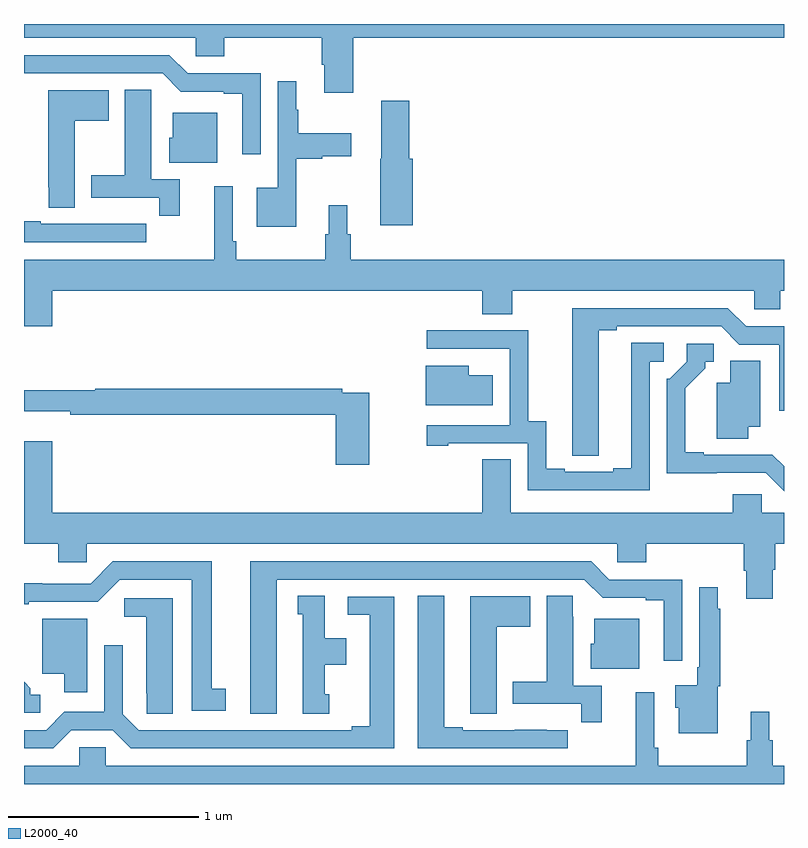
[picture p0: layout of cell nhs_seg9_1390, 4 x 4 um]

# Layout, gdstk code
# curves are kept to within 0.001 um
import gdstk
lib = gdstk.Library(unit=1e-6, precision=1e-09)
def P(c, l, *ps):  # polygons
    for p in ps: c.add(gdstk.Polygon(p, *l))
L2000_40 = (2000, 40)

nhs_seg9_1390 = lib.new_cell('nhs_seg9_1390')
P(nhs_seg9_1390, L2000_40, [(190.733,1188.428),(193,1188.428),(193,1188.5),(189,1188.5),(189,1188.428),(189.903,1188.428),(189.903,1188.33),(190.055,1188.33),(190.055,1188.428),(190.568,1188.428),(190.568,1188.286),(190.58,1188.286),(190.58,1188.138),(190.733,1188.138)],
  [(190.245,1188.24),(189.861,1188.24),(189.765,1188.336),(189,1188.336),(189,1188.24),(189.729,1188.24),(189.825,1188.144),(190.052,1188.144),(190.052,1188.132),(190.148,1188.132),(190.148,1187.814),(190.245,1187.814)],
  [(190.432,1187.792),(190.569,1187.792),(190.569,1187.804),(190.723,1187.804),(190.723,1187.926),(190.444,1187.926),(190.444,1188.05),(190.432,1188.05),(190.432,1188.199),(190.335,1188.199),(190.335,1187.638),(190.226,1187.638),(190.226,1187.432),(190.432,1187.432)],
  [(189.821,1187.682),(189.67,1187.682),(189.67,1188.044),(189.669,1188.044),(189.669,1188.155),(189.53,1188.155),(189.53,1187.703),(189.353,1187.703),(189.353,1187.586),(189.712,1187.586),(189.712,1187.49),(189.821,1187.49)],
  [(189.268,1187.992),(189.445,1187.992),(189.445,1188.151),(189.128,1188.151),(189.128,1187.641),(189.129,1187.641),(189.129,1187.533),(189.268,1187.533)],
  [(191.045,1187.79),(191.027,1187.79),(191.027,1188.097),(190.88,1188.097),(190.88,1187.79),(190.874,1187.79),(190.874,1187.442),(191.045,1187.442)],
  [(190.018,1188.034),(189.782,1188.034),(189.782,1187.901),(189.764,1187.901),(189.764,1187.771),(190.018,1187.771)],
  [(189.148,1187.096),(191.411,1187.096),(191.411,1186.972),(191.571,1186.972),(191.571,1187.096),(192.843,1187.096),(192.843,1186.998),(192.981,1186.998),(192.981,1187.096),(193,1187.096),(193,1187.26),(190.721,1187.26),(190.721,1187.394),(190.702,1187.394),(190.702,1187.545),(190.604,1187.545),(190.604,1187.394),(190.585,1187.394),(190.585,1187.26),(190.118,1187.26),(190.118,1187.356),(190.098,1187.356),(190.098,1187.647),(190.001,1187.647),(190.001,1187.26),(189,1187.26),(189,1186.908),(189.148,1186.908)],
  [(189.643,1187.448),(189.53,1187.448),(189.53,1187.449),(189.364,1187.449),(189.364,1187.448),(189.088,1187.448),(189.088,1187.463),(189,1187.463),(189,1187.352),(189.643,1187.352)],
  [(192.025,1186.888),(192.121,1186.888),(192.121,1186.908),(192.669,1186.908),(192.765,1186.812),(192.975,1186.812),(192.975,1186.464),(193,1186.464),(193,1186.908),(192.801,1186.908),(192.705,1187.004),(191.885,1187.004),(191.886,1186.228),(192.025,1186.228)],
  [(192.294,1186.722),(192.367,1186.722),(192.367,1186.823),(192.197,1186.823),(192.197,1186.163),(192.101,1186.163),(192.101,1186.143),(191.845,1186.143),(191.845,1186.158),(191.749,1186.158),(191.749,1186.409),(191.655,1186.409),(191.655,1186.887),(191.121,1186.887),(191.121,1186.791),(191.555,1186.791),(191.555,1186.79),(191.556,1186.79),(191.556,1186.389),(191.121,1186.389),(191.121,1186.281),(191.233,1186.281),(191.233,1186.293),(191.652,1186.293),(191.652,1186.047),(192.294,1186.047)],
  [(193,1186.172),(192.938,1186.234),(192.577,1186.233),(192.577,1186.246),(192.481,1186.246),(192.481,1186.582),(192.586,1186.687),(192.586,1186.722),(192.631,1186.722),(192.631,1186.818),(192.489,1186.818),(192.489,1186.722),(192.399,1186.632),(192.384,1186.632),(192.384,1186.136),(192.903,1186.137),(193,1186.04)],
  [(192.811,1186.379),(192.874,1186.379),(192.874,1186.727),(192.716,1186.727),(192.716,1186.612),(192.647,1186.612),(192.647,1186.318),(192.811,1186.318)],
  [(191.467,1186.651),(191.341,1186.651),(191.341,1186.702),(191.114,1186.702),(191.114,1186.493),(191.467,1186.493)],
  [(190.818,1186.56),(190.676,1186.56),(190.676,1186.58),(189.376,1186.58),(189.376,1186.573),(189,1186.573),(189,1186.463),(189.244,1186.463),(189.244,1186.444),(190.64,1186.444),(190.64,1186.179),(190.818,1186.179)],
  [(192.94,1185.627),(192.953,1185.627),(192.953,1185.764),(193,1185.764),(193,1185.928),(192.882,1185.928),(192.882,1186.026),(192.731,1186.026),(192.731,1185.928),(191.563,1185.928),(191.563,1186.208),(191.411,1186.208),(191.411,1185.928),(189.148,1185.928),(189.148,1186.303),(189,1186.303),(189,1185.764),(189.179,1185.764),(189.179,1185.666),(189.33,1185.666),(189.33,1185.764),(192.123,1185.764),(192.123,1185.666),(192.275,1185.666),(192.275,1185.764),(192.788,1185.764),(192.788,1185.622),(192.8,1185.622),(192.8,1185.474),(192.94,1185.474)],
  [(190.33,1185.576),(191.949,1185.576),(192.045,1185.48),(192.272,1185.48),(192.272,1185.468),(192.368,1185.468),(192.368,1185.15),(192.465,1185.15),(192.465,1185.576),(192.081,1185.576),(191.985,1185.672),(190.19,1185.672),(190.19,1184.871),(190.33,1184.871)],
  [(190.063,1185.002),(189.988,1185.002),(189.988,1185.672),(189.468,1185.672),(189.351,1185.555),(189.095,1185.555),(189.095,1185.557),(189,1185.557),(189,1185.447),(189.025,1185.447),(189.025,1185.459),(189.387,1185.459),(189.504,1185.576),(189.884,1185.576),(189.884,1184.886),(190.063,1184.886)],
  [(192.652,1185.015),(192.664,1185.015),(192.664,1185.422),(192.652,1185.422),(192.652,1185.535),(192.555,1185.535),(192.555,1185.115),(192.543,1185.115),(192.543,1185.019),(192.428,1185.019),(192.428,1184.901),(192.446,1184.901),(192.446,1184.768),(192.652,1184.768)],
  [(192.041,1185.018),(191.89,1185.018),(191.89,1185.38),(191.889,1185.38),(191.889,1185.491),(191.75,1185.491),(191.75,1185.039),(191.573,1185.039),(191.573,1184.922),(191.932,1184.922),(191.932,1184.826),(192.041,1184.826)],
  [(191.863,1184.784),(191.75,1184.784),(191.75,1184.785),(191.584,1184.785),(191.584,1184.784),(191.308,1184.784),(191.308,1184.799),(191.212,1184.799),(191.212,1185.491),(191.072,1185.491),(191.072,1184.688),(191.863,1184.688)],
  [(190.606,1184.973),(190.582,1184.973),(190.582,1185.128),(190.696,1185.128),(190.696,1185.268),(190.582,1185.268),(190.582,1185.491),(190.442,1185.491),(190.442,1185.393),(190.466,1185.393),(190.466,1184.871),(190.606,1184.871)],
  [(191.488,1185.328),(191.665,1185.328),(191.665,1185.487),(191.348,1185.487),(191.348,1184.977),(191.349,1184.977),(191.349,1184.869),(191.488,1184.869)],
  [(189.249,1184.784),(189.467,1184.784),(189.563,1184.688),(190.948,1184.688),(190.948,1185.486),(190.704,1185.486),(190.704,1185.39),(190.82,1185.39),(190.82,1184.804),(190.724,1184.804),(190.724,1184.784),(189.603,1184.784),(189.519,1184.868),(189.519,1185.229),(189.423,1185.229),(189.423,1184.88),(189.213,1184.88),(189.117,1184.784),(189,1184.784),(189,1184.688),(189.153,1184.688)],
  [(189.784,1185.477),(189.528,1185.477),(189.528,1185.38),(189.644,1185.38),(189.644,1184.977),(189.645,1184.977),(189.645,1184.869),(189.784,1184.869)],
  [(192.238,1185.37),(192.002,1185.37),(192.002,1185.237),(191.984,1185.237),(191.984,1185.107),(192.238,1185.107)],
  [(189.334,1185.37),(189.095,1185.37),(189.095,1185.08),(189.212,1185.08),(189.212,1184.982),(189.334,1184.982)],
  [(189.085,1184.97),(189.034,1184.97),(189.034,1185.005),(189,1185.039),(189,1184.874),(189.085,1184.874)],
  [(193,1184.596),(192.941,1184.596),(192.941,1184.73),(192.922,1184.73),(192.922,1184.881),(192.824,1184.881),(192.824,1184.73),(192.805,1184.73),(192.805,1184.596),(192.338,1184.596),(192.338,1184.692),(192.318,1184.692),(192.318,1184.983),(192.221,1184.983),(192.221,1184.596),(189.429,1184.596),(189.429,1184.694),(189.291,1184.694),(189.291,1184.596),(189,1184.596),(189,1184.5),(193,1184.5)])

lib.write_gds('nhs_seg9_1390.gds')
